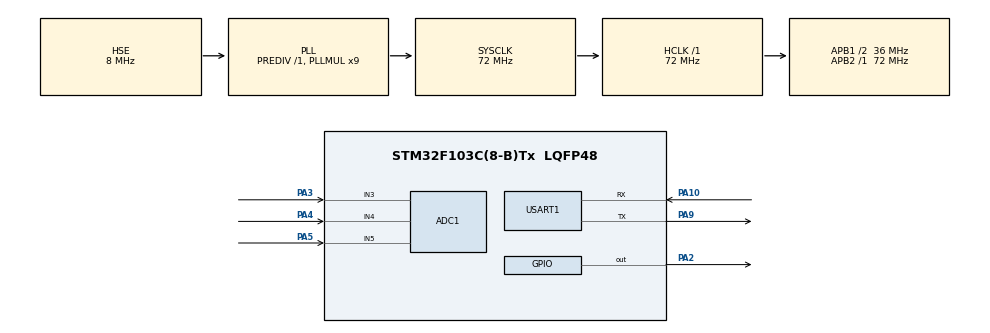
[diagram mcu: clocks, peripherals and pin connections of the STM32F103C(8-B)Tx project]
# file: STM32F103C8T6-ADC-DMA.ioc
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ADC1.Channel-0\#ChannelRegularConversion=ADC_CHANNEL_3
ADC1.Channel-1\#ChannelRegularConversion=ADC_CHANNEL_4
ADC1.Channel-2\#ChannelRegularConversion=ADC_CHANNEL_5
ADC1.ContinuousConvMode=ENABLE
ADC1.DiscontinuousConvMode=DISABLE
ADC1.NbrOfConversion=3
ADC1.NbrOfConversionFlag=1
ADC1.Rank-0\#ChannelRegularConversion=1
ADC1.Rank-1\#ChannelRegularConversion=2
ADC1.Rank-2\#ChannelRegularConversion=3
ADC1.SamplingTime-0\#ChannelRegularConversion=ADC_SAMPLETIME_13CYCLES_5
ADC1.SamplingTime-1\#ChannelRegularConversion=ADC_SAMPLETIME_13CYCLES_5
ADC1.SamplingTime-2\#ChannelRegularConversion=ADC_SAMPLETIME_13CYCLES_5
ADC1.master=1
Dma.ADC1.0.Direction=DMA_PERIPH_TO_MEMORY
Dma.ADC1.0.Instance=DMA1_Channel1
Dma.ADC1.0.MemDataAlignment=DMA_MDATAALIGN_HALFWORD
Dma.ADC1.0.MemInc=DMA_MINC_ENABLE
Dma.ADC1.0.Mode=DMA_CIRCULAR
Dma.ADC1.0.PeriphDataAlignment=DMA_PDATAALIGN_HALFWORD
Dma.ADC1.0.PeriphInc=DMA_PINC_DISABLE
Dma.ADC1.0.Priority=DMA_PRIORITY_LOW
Dma.Request0=ADC1
Mcu.Family=STM32F1
Mcu.Name=STM32F103C(8-B)Tx
Mcu.Package=LQFP48
NVIC.DMA1_Channel1_IRQn=true\:0\:0\:false\:false\:true\:false\:true\:true
NVIC.PriorityGroup=NVIC_PRIORITYGROUP_4
NVIC.TIM2_IRQn=true\:0\:0\:false\:false\:true\:true\:true\:true
PA10.Mode=Asynchronous
PA10.Signal=USART1_RX
PA13.Mode=Serial_Wire
PA13.Signal=SYS_JTMS-SWDIO
PA14.Mode=Serial_Wire
PA14.Signal=SYS_JTCK-SWCLK
PA2.Signal=GPIO_Output
PA3.Signal=ADCx_IN3
PA4.Signal=ADCx_IN4
PA5.Signal=ADCx_IN5
PA9.Mode=Asynchronous
PA9.Signal=USART1_TX
PD0-OSC_IN.Mode=HSE-External-Oscillator
PD0-OSC_IN.Signal=RCC_OSC_IN
PD1-OSC_OUT.Mode=HSE-External-Oscillator
PD1-OSC_OUT.Signal=RCC_OSC_OUT
ProjectManager.HeapSize=0x200
ProjectManager.StackSize=0x400
ProjectManager.TargetToolchain=STM32CubeIDE
RCC.ADCPresc=RCC_ADCPCLK2_DIV6
RCC.AHBFreq_Value=72000000
RCC.APB1CLKDivider=RCC_HCLK_DIV2
RCC.APB1Freq_Value=36000000
RCC.APB1TimFreq_Value=72000000
RCC.APB2Freq_Value=72000000
RCC.APB2TimFreq_Value=72000000
RCC.HCLKFreq_Value=72000000
RCC.PLLMUL=RCC_PLL_MUL9
RCC.PLLSourceVirtual=RCC_PLLSOURCE_HSE
RCC.SYSCLKFreq_VALUE=72000000
RCC.SYSCLKSource=RCC_SYSCLKSOURCE_PLLCLK
RCC.USBFreq_Value=72000000
SH.ADCx_IN3.0=ADC1_IN3,IN3
SH.ADCx_IN4.0=ADC1_IN4,IN4
SH.ADCx_IN5.0=ADC1_IN5,IN5
TIM2.AutoReloadPreload=TIM_AUTORELOAD_PRELOAD_ENABLE
TIM2.Period=1000-1
TIM2.Prescaler=72-1
USART1.VirtualMode=VM_ASYNC
VP_TIM2_VS_ClockSourceINT.Mode=Internal
board=custom

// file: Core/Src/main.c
/* USER CODE BEGIN Header */
/**
  ******************************************************************************
  * @file           : main.c
  * @brief          : Main program body
  ******************************************************************************
  * @attention
  *
  * Copyright (c) 2024 STMicroelectronics.
  * All rights reserved.
  *
  * This software is licensed under terms that can be found in the LICENSE file
  * in the root directory of this software component.
  * If no LICENSE file comes with this software, it is provided AS-IS.
  *
  ******************************************************************************
  */
/* USER CODE END Header */
#include "main.h"
#include "adc.h"
#include "dma.h"
#include "tim.h"
#include "usart.h"
#include "gpio.h"

/* USER CODE BEGIN Includes */
#include "stdio.h"
/* USER CODE END Includes */

void SystemClock_Config(void);

/* USER CODE BEGIN 0 */
int __io_putchar(int ch)
{
    HAL_UART_Transmit(&huart1, (uint8_t *)&ch, 1, 100);
    return ch;
}

void LED_On()
{
    HAL_GPIO_WritePin(GPIOA, GPIO_PIN_2, GPIO_PIN_SET);
}

void LED_Off()
{
    HAL_GPIO_WritePin(GPIOA, GPIO_PIN_2, GPIO_PIN_RESET);
}

void LED_Toggle()
{
    HAL_GPIO_TogglePin(GPIOA, GPIO_PIN_2);
}

float ADC_Value[3] = {0, 0, 0};
uint16_t adc_simple_value[3];
void ADC_Read(float __ADC_Value[], int len)
{
    for (int i = 0; i < len; i++)
    {
        HAL_ADC_Start(&hadc1);
        if (HAL_ADC_PollForConversion(&hadc1, 10) == HAL_OK)
        {
            __ADC_Value[i] = 3.3 * (float)HAL_ADC_GetValue(&hadc1) / 4096;
        }
    }
}

uint8_t ActiveJudge(float Theord)
{
    if (Theord < 0.5)
    {
        return 1;
    }
    return 0;
}

int LightingTime = 0, bLoose = 1;
void HAL_TIM_PeriodElapsedCallback(TIM_HandleTypeDef *htim)
{
    // if (ActiveJudge(ADC_Value[0]) && bLoose == 1)
    // {
    //   LightingTime++;
    // }
    // else
    // {
    //   LightingTime = 0;
    // }
    // if (LightingTime >= 2000)
    // {
    //   if (ActiveJudge(ADC_Value[0]))
    //   {
    //     bLoose = 0;
    //   }
    //   LED_Toggle();
    // }

    if (ActiveJudge(ADC_Value[0]))
    {
        LightingTime++;
    }
    else
    {
        LightingTime = 0;
        bLoose = 1;
    }
    if (LightingTime >= 200 && bLoose == 1)
    {
        LED_Toggle();
        bLoose = 0;
    }
    for (int i = 0; i < 3; i++)
    {
        ADC_Value[i] = (3.3 * adc_simple_value[i]) / 4096;
    }
    printf("%f, %f, %f, %d, %d\n", ADC_Value[0], ADC_Value[1], ADC_Value[2], LightingTime, bLoose);
}
// pr16171618
uint8_t LED_Change_State()
{
    return 0;
}

/* USER CODE END 0 */

int main(void)
{

  /* MCU Configuration--------------------------------------------------------*/

  /* Reset of all peripherals, Initializes the Flash interface and the Systick. */
  HAL_Init();

  /* Configure the system clock */
  SystemClock_Config();

  /* Initialize all configured peripherals */
  MX_GPIO_Init();
  MX_DMA_Init();
  MX_USART1_UART_Init();
  MX_ADC1_Init();
  MX_TIM2_Init();
  /* USER CODE BEGIN 2 */
    LED_Off();

    HAL_TIM_Base_Start_IT(&htim2);

    // HAL_ADCEx_Calibration_Start(&hadc1);
    HAL_ADC_Start_DMA(&hadc1, (uint32_t *)adc_simple_value, 3);
    /* USER CODE END 2 */

    /* Infinite loop */
    /* USER CODE BEGIN WHILE */
    while (1)
    {
        // ADC_Read(ADC_Value, 3);
        // HAL_GPIO_TogglePin(GPIOA, GPIO_PIN_2);

        HAL_Delay(10);
        /* USER CODE END WHILE */

    }
}

void SystemClock_Config(void)
{
  RCC_OscInitTypeDef RCC_OscInitStruct = {0};
  RCC_ClkInitTypeDef RCC_ClkInitStruct = {0};
  RCC_PeriphCLKInitTypeDef PeriphClkInit = {0};

  /** Initializes the RCC Oscillators according to the specified parameters
  * in the RCC_OscInitTypeDef structure.
  */
  RCC_OscInitStruct.OscillatorType = RCC_OSCILLATORTYPE_HSE;
  RCC_OscInitStruct.HSEState = RCC_HSE_ON;
  RCC_OscInitStruct.HSEPredivValue = RCC_HSE_PREDIV_DIV1;
  RCC_OscInitStruct.HSIState = RCC_HSI_ON;
  RCC_OscInitStruct.PLL.PLLState = RCC_PLL_ON;
  RCC_OscInitStruct.PLL.PLLSource = RCC_PLLSOURCE_HSE;
  RCC_OscInitStruct.PLL.PLLMUL = RCC_PLL_MUL9;
  if (HAL_RCC_OscConfig(&RCC_OscInitStruct) != HAL_OK)
  {
    Error_Handler();
  }

  /** Initializes the CPU, AHB and APB buses clocks
  */
  RCC_ClkInitStruct.ClockType = RCC_CLOCKTYPE_HCLK|RCC_CLOCKTYPE_SYSCLK
                              |RCC_CLOCKTYPE_PCLK1|RCC_CLOCKTYPE_PCLK2;
  RCC_ClkInitStruct.SYSCLKSource = RCC_SYSCLKSOURCE_PLLCLK;
  RCC_ClkInitStruct.AHBCLKDivider = RCC_SYSCLK_DIV1;
  RCC_ClkInitStruct.APB1CLKDivider = RCC_HCLK_DIV2;
  RCC_ClkInitStruct.APB2CLKDivider = RCC_HCLK_DIV1;

  if (HAL_RCC_ClockConfig(&RCC_ClkInitStruct, FLASH_LATENCY_2) != HAL_OK)
  {
    Error_Handler();
  }
  PeriphClkInit.PeriphClockSelection = RCC_PERIPHCLK_ADC;
  PeriphClkInit.AdcClockSelection = RCC_ADCPCLK2_DIV6;
  if (HAL_RCCEx_PeriphCLKConfig(&PeriphClkInit) != HAL_OK)
  {
    Error_Handler();
  }
}

void Error_Handler(void)
{
  __disable_irq();
  while (1)
  {
  }
}
